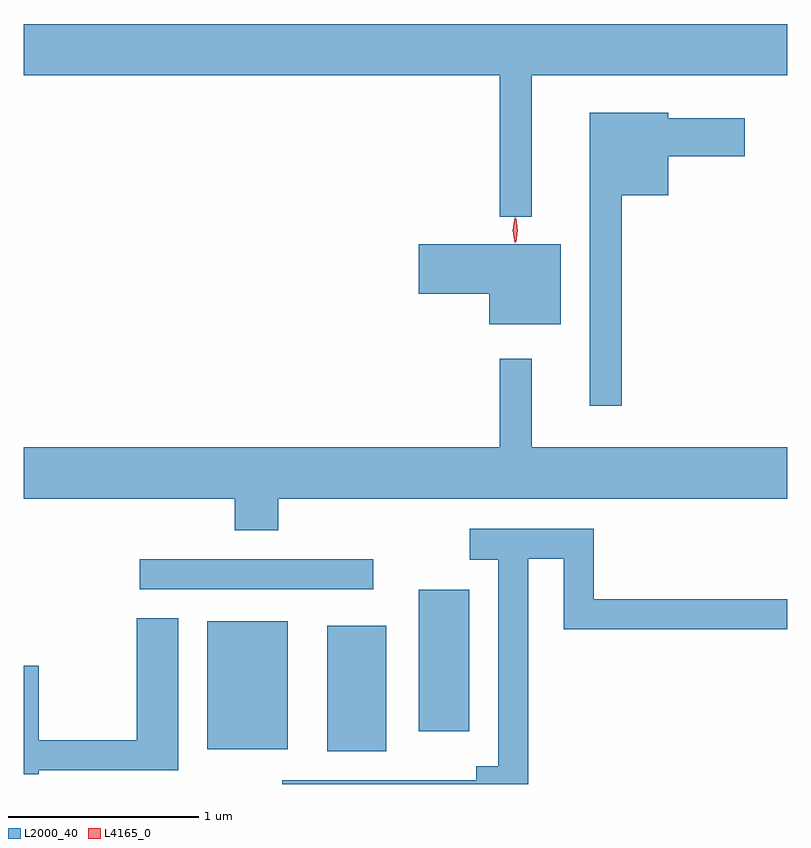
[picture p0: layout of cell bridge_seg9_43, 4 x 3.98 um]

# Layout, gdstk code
import gdstk
lib = gdstk.Library(unit=1e-6, precision=1e-09)
def R(c, l, rs):  # rectangles x0, y0, x1, y1
    for r in rs: c.add(gdstk.rectangle(r[:2], r[2:], *l))
def P(c, l, *ps):  # polygons
    for p in ps: c.add(gdstk.Polygon(p, *l))
L2000_40 = (2000, 40)
L4165_0 = (4165, 0)

bridge_seg9_43 = lib.new_cell('bridge_seg9_43')
R(bridge_seg9_43, L2000_40, [(1516.106,1990.491,1516.414,1991.149), (1515.476,1990.501,1515.899,1991.174), (1516.586,1990.596,1516.849,1991.339), (1515.123,1991.341,1516.348,1991.499)])
P(bridge_seg9_43, L2000_40, [(1517.179,1994.036),(1518.516,1994.036),(1518.516,1994.304),(1514.516,1994.304),(1514.516,1994.036),(1517.011,1994.036),(1517.011,1993.293),(1517.179,1993.293)],
  [(1517.649,1993.406),(1517.894,1993.406),(1517.894,1993.611),(1518.294,1993.611),(1518.294,1993.809),(1517.894,1993.809),(1517.894,1993.839),(1517.481,1993.839),(1517.481,1992.303),(1517.649,1992.303)],
  [(1517.329,1993.149),(1516.586,1993.149),(1516.586,1992.891),(1516.956,1992.891),(1516.956,1992.731),(1517.329,1992.731)],
  [(1515.849,1991.816),(1518.516,1991.816),(1518.516,1992.084),(1517.179,1992.084),(1517.179,1992.548),(1517.011,1992.548),(1517.011,1992.084),(1514.516,1992.084),(1514.516,1991.816),(1515.621,1991.816),(1515.621,1991.651),(1515.849,1991.651)],
  [(1517.159,1991.501),(1517.346,1991.501),(1517.346,1991.131),(1518.516,1991.131),(1518.516,1991.289),(1517.504,1991.289),(1517.504,1991.659),(1516.853,1991.659),(1516.853,1991.496),(1517.001,1991.496),(1517.001,1990.414),(1516.886,1990.414),(1516.886,1990.339),(1515.871,1990.339),(1515.871,1990.32),(1517.159,1990.32)],
  [(1514.594,1990.391),(1515.324,1990.391),(1515.324,1991.189),(1515.106,1991.189),(1515.106,1990.549),(1514.594,1990.549),(1514.594,1990.939),(1514.516,1990.939),(1514.516,1990.371),(1514.594,1990.371)])
P(bridge_seg9_43, L4165_0, [(1517.088,1993.154),(1517.088,1993.154),(1517.079,1993.222),(1517.089,1993.29),(1517.09,1993.29),(1517.09,1993.29),(1517.099,1993.222),(1517.089,1993.154)],
  [(1517.094,1993.16),(1517.085,1993.223),(1517.094,1993.286),(1517.095,1993.287),(1517.096,1993.286),(1517.105,1993.223),(1517.096,1993.16),(1517.095,1993.16)])

lib.write_gds('bridge_seg9_43.gds')
